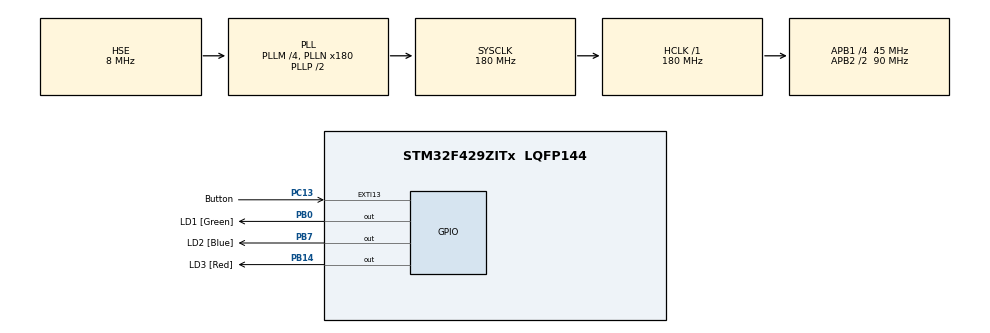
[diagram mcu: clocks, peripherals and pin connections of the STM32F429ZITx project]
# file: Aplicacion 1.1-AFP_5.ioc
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Mcu.Family=STM32F4
Mcu.Name=STM32F429ZITx
Mcu.Package=LQFP144
NVIC.PriorityGroup=NVIC_PRIORITYGROUP_4
PB0.GPIO_Label=LD1 [Green]
PB0.Signal=GPIO_Output
PB14.GPIO_Label=LD3 [Red]
PB14.Signal=GPIO_Output
PB7.GPIO_Label=LD2 [Blue]
PB7.Signal=GPIO_Output
PC13.GPIO_Label=Button
PC13.Signal=GPXTI13
PH0/OSC_IN.Mode=HSE-External-Oscillator
PH0/OSC_IN.Signal=RCC_OSC_IN
PH1/OSC_OUT.Mode=HSE-External-Oscillator
PH1/OSC_OUT.Signal=RCC_OSC_OUT
ProjectManager.HeapSize=0x200
ProjectManager.StackSize=0x400
ProjectManager.TargetToolchain=STM32CubeIDE
RCC.48MHZClocksFreq_Value=51428571.428571425
RCC.AHBFreq_Value=180000000
RCC.APB1CLKDivider=RCC_HCLK_DIV4
RCC.APB1Freq_Value=45000000
RCC.APB1TimFreq_Value=90000000
RCC.APB2CLKDivider=RCC_HCLK_DIV2
RCC.APB2Freq_Value=90000000
RCC.APB2TimFreq_Value=180000000
RCC.CortexFreq_Value=180000000
RCC.HCLKFreq_Value=180000000
RCC.HSE_VALUE=8000000
RCC.HSI_VALUE=16000000
RCC.PLLM=4
RCC.PLLMUL=RCC_PLL_MUL9
RCC.PLLN=180
RCC.PLLQ=7
RCC.PLLSourceVirtual=RCC_PLLSOURCE_HSE
RCC.PRESCALERUSB=RCC_USBCLKSOURCE_PLL_DIV1_5
RCC.SYSCLKFreq_VALUE=180000000
RCC.SYSCLKSource=RCC_SYSCLKSOURCE_PLLCLK
RCC.SYSCLKSourceVirtual=RCC_SYSCLKSOURCE_PLLCLK
RCC.USBFreq_Value=48000000
RCC.VCOOutputFreq_Value=360000000
board=NUCLEO-F429ZI

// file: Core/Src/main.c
/* USER CODE BEGIN Header */
/**
  ******************************************************************************
  * @file           : main.c
  * @brief          : Main program body
  ******************************************************************************
  */
/* USER CODE END Header */

#include "main.h"
#include "string.h"
#include "API_GPIO.h"
#include "API_Delay.h"
#include "API_Debounce.h"

/* USER CODE BEGIN PTD */
typedef enum {
    ESTADO_LED1_ON,  // Estado 0: LED1 encendido, LED2 apagado, LED3 apagado
    ESTADO_LED2_ON,// Estado 1: LED1 apagado, LED2 encendido, LED3 apagado
	ESTADO_LED3_ON// Estado 2: LED1 apagado, LED2 apagado, LED3 encendido
} estadoSecuencia_t;
/* USER CODE END PTD */

/* USER CODE BEGIN PD */
#define LED1 LD1_Pin //led verde
#define LED2 LD2_Pin //led azul
#define LED3 LD3_Pin // led rojo
/* USER CODE END PD */

/* USER CODE BEGIN PV */
led_t LEDS[] = {LED1, LED2, LED3};
estadoSecuencia_t estadoActual = ESTADO_LED1_ON;
delay_t ledDelay;
/* USER CODE END PV */

void SystemClock_Config(void);

int main(void)
{
  /* MCU Configuration--------------------------------------------------------*/

  /* Reset of all peripherals, Initializes the Flash interface and the Systick. */
  HAL_Init();

  /* Configure the system clock */
  SystemClock_Config();

  /* Initialize all configured peripherals */
  MX_GPIO_Init();

  /* USER CODE BEGIN 2 */

  delayInit(&ledDelay, 200);
  debounceFSM_init();

  /* USER CODE END 2 */

  /* Infinite loop */
  while (1)
  {

    /* USER CODE BEGIN 3 */

	  if (delayRead(&ledDelay)) {

		  //-------LEDS APAGADOS------//
		  LEDapagado_GPIO(LEDS[0]);
		  LEDapagado_GPIO(LEDS[1]);
		  LEDapagado_GPIO(LEDS[2]);
	      //--------------------------//

	      switch (estadoActual) {
	          case ESTADO_LED1_ON:
	        	  LEDencendido_GPIO(LEDS[0]);
	              estadoActual = ESTADO_LED2_ON;
	              break;

	          case ESTADO_LED2_ON:
	        	  LEDencendido_GPIO(LEDS[1]);
	              estadoActual = ESTADO_LED3_ON;
	              break;

	          case ESTADO_LED3_ON:
	              LEDencendido_GPIO(LEDS[2]);
	              estadoActual = ESTADO_LED1_ON;
	              break;
	      }
	  }

  }
  /* USER CODE END 3 */
}

void SystemClock_Config(void)
{
  RCC_OscInitTypeDef RCC_OscInitStruct = {0};
  RCC_ClkInitTypeDef RCC_ClkInitStruct = {0};

  __HAL_RCC_PWR_CLK_ENABLE();
  __HAL_PWR_VOLTAGESCALING_CONFIG(PWR_REGULATOR_VOLTAGE_SCALE1);

  RCC_OscInitStruct.OscillatorType = RCC_OSCILLATORTYPE_HSE;
  RCC_OscInitStruct.HSEState = RCC_HSE_ON;
  RCC_OscInitStruct.PLL.PLLState = RCC_PLL_ON;
  RCC_OscInitStruct.PLL.PLLSource = RCC_PLLSOURCE_HSE;
  RCC_OscInitStruct.PLL.PLLM = 4;
  RCC_OscInitStruct.PLL.PLLN = 180;
  RCC_OscInitStruct.PLL.PLLP = RCC_PLLP_DIV2;
  RCC_OscInitStruct.PLL.PLLQ = 7;
  if (HAL_RCC_OscConfig(&RCC_OscInitStruct) != HAL_OK)
  {
    Error_Handler();
  }

  if (HAL_PWREx_EnableOverDrive() != HAL_OK)
  {
    Error_Handler();
  }

  RCC_ClkInitStruct.ClockType = RCC_CLOCKTYPE_HCLK|RCC_CLOCKTYPE_SYSCLK
                              |RCC_CLOCKTYPE_PCLK1|RCC_CLOCKTYPE_PCLK2;
  RCC_ClkInitStruct.SYSCLKSource = RCC_SYSCLKSOURCE_PLLCLK;
  RCC_ClkInitStruct.AHBCLKDivider = RCC_SYSCLK_DIV1;
  RCC_ClkInitStruct.APB1CLKDivider = RCC_HCLK_DIV4;
  RCC_ClkInitStruct.APB2CLKDivider = RCC_HCLK_DIV2;

  if (HAL_RCC_ClockConfig(&RCC_ClkInitStruct, FLASH_LATENCY_5) != HAL_OK)
  {
    Error_Handler();
  }
}

void Error_Handler(void)
{
  __disable_irq();
  while (1)
  {
  }
}
